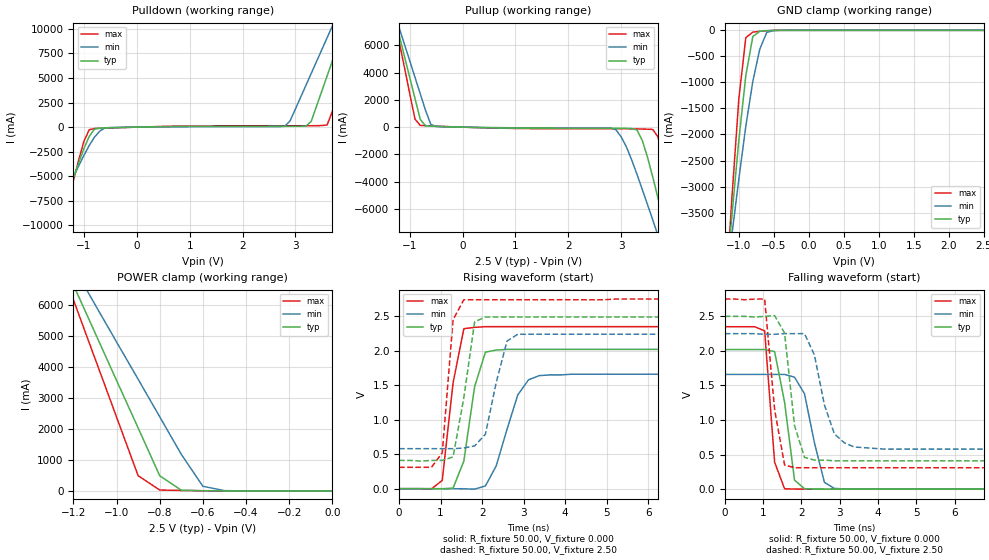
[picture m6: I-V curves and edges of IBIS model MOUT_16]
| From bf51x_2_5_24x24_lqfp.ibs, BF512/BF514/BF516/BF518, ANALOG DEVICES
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|   Model prw1216cdg_25
[Model]   MOUT_16
Model_type   I/O
Polarity   Non-Inverting
Enable   Active-Low
Vinl =   0.70V
Vinh =   1.70V
Vmeas =   1.20V
Cref =  50.00pF
Rref =   1.00M
Vref =  0.000V
C_comp   7.94pF   7.48pF   8.41pF
[Temperature Range]   25.00   0.12k   -40.00
[Voltage Range]   2.50V   2.25V   2.75V
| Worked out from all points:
|   slope of the pulldown table from 0 to 0.375 V, typ, clamps not added: 9.7 ohm
|   slope of the pullup table from 0 to 0.375 V, typ, clamps not added: 11.2 ohm
|   GND clamp passes 1 mA (typ) near -0.48 V on its own axis
|   POWER clamp passes 1 mA (typ) near -0.48 V on its own axis
|   rising waveform, R_fixture 50.00, V_fixture 0.000: 20-80 % time 330ps typ, 502ps min, 311ps max; typ from 0 V to 2.02 V
|   rising waveform, R_fixture 50.00, V_fixture 2.50: 20-80 % time 329ps typ, 380ps min, 197ps max; typ from 0.41 V to 2.5 V
|   falling waveform, R_fixture 50.00, V_fixture 0.000: 20-80 % time 324ps typ, 395ps min, 193ps max; typ from 2.02 V to 0 V
|   falling waveform, R_fixture 50.00, V_fixture 2.50: 20-80 % time 277ps typ, 441ps min, 295ps max; typ from 2.5 V to 0.41 V
[Pulldown]
| voltage   I(typ)   I(min)   I(max)
-2.5V     -26.29A    -20.09A    -34.97A
-1.7V     -13.19A    -10.78A    -16.66A
-1.5V     -9.95A     -8.47A     -12.14A
-1.4V     -8.34A     -7.32A     -9.89A
-900mV    -940mA     -1.86A     -260mA
-600mV    -75.97mA   -77.58mA   -100mA
2.8V      90.77mA    89.71mA    140mA
3.3V      580mA      5.46A      140mA
3.6V      5.19A      9.08A      220mA
3.9V      9.81A      12.71A     5.36A
4.2V      14.42A     16.34A     11.04A
5V        26.76A     26.05A     26.19A
[Pullup]
| voltage   I(typ)   I(min)   I(max)
-2.5V     26.84A     23.12A     30.96A
-1.3V     8.29A      8.52A      8.18A
-900mV    2.11A      3.66A      590mA
-800mV    570mA      2.45A      130mA
-500mV    57.05mA    51.02mA    72.58mA
2.9V      -84.95mA   -180mA     -120mA
3.3V      -200mA     -3.45A     -130mA
3.6V      -3.66A     -6.8A      -170mA
3.8V      -6.8A      -9.1A      -2.36A
4V        -10.02A    -11.41A    -6.62A
4.1V      -11.64A    -12.57A    -8.84A
5V        -26.38A    -23.07A    -29.36A
[GND_clamp]
| voltage   I(typ)   I(min)   I(max)
-2.5V     -26.29A    -20.09A    -34.96A
-1.2V     -5.13A     -5.05A     -5.39A
-1.1V     -3.58A     -3.94A     -3.24A
-1V       -2.11A     -2.86A     -1.32A
-900mV    -870mA     -1.84A     -140mA
-800mV    -120mA     -980mA     -34.45mA
-700mV    -16.53mA   -360mA     -19.93mA
-600mV    -6mA       -37.56mA   -8.59mA
-500mV    -1.29mA    -3.79mA    -1.78mA
2.5V      200pA      8.96uA     -150pA
[POWER_clamp]
| voltage   I(typ)   I(min)   I(max)
-2.5V     26.66A     22.96A     30.77A
-1.3V     8.18A      8.43A      8.05A
-1.2V     6.64A      7.22A      6.16A
-1.1V     5.1A       6.01A      4.27A
-900mV    2.03A      3.6A       490mA
-800mV    490mA      2.39A      29.14mA
-700mV    22.65mA    1.18A      14.91mA
-600mV    5.16mA     150mA      6.61mA
-500mV    1.28mA     9.49mA     1.67mA
0V        200pA      6.4nA      -200pA
[Ramp]
| variable   typ   min   max
dV/dt_r   1.22/0.29n   1.00/0.50n   1.41/0.21n
dV/dt_f   1.26/0.24n   1.01/0.40n   1.47/0.17n
R_load = 50.00
[Rising Waveform]
R_fixture = 50.00
V_fixture = 0.000
V_fixture_min = 0.000
V_fixture_max = 0.000
L_fixture = 0.000H
C_fixture = 0.000F
| time   V(typ)   V(min)   V(max)
0s        0V         0V         0V
1.04ns    -2.32mV    -110uV     120mV
1.3ns     8.11mV     -800uV     1.53V
1.56ns    400mV      -1.99mV    2.32V
1.82ns    1.48V      -7.18mV    2.34V
2.08ns    1.98V      39.55mV    2.35V
2.34ns    2.01V      330mV      2.35V
2.86ns    2.02V      1.36V      2.35V
3.38ns    2.02V      1.64V      2.35V
13ns      2.02V      1.66V      2.35V
[Rising Waveform]
R_fixture = 50.00
V_fixture = 2.50
V_fixture_min = 2.25
V_fixture_max = 2.75
L_fixture = 0.000H
C_fixture = 0.000F
| time   V(typ)   V(min)   V(max)
0s        410mV      580mV      310mV
780ps     410mV      580mV      310mV
1.04ns    410mV      580mV      520mV
1.3ns     460mV      580mV      2.45V
1.56ns    1.32V      590mV      2.74V
1.82ns    2.42V      620mV      2.74V
2.08ns    2.49V      790mV      2.74V
2.6ns     2.49V      2.14V      2.74V
2.86ns    2.49V      2.24V      2.74V
13ns      2.5V       2.25V      2.75V
[Falling Waveform]
R_fixture = 50.00
V_fixture = 0.000
V_fixture_min = 0.000
V_fixture_max = 0.000
L_fixture = 0.000H
C_fixture = 0.000F
| time   V(typ)   V(min)   V(max)
0s        2.02V      1.66V      2.35V
1.04ns    2.02V      1.66V      2.29V
1.3ns     1.99V      1.66V      390mV
1.56ns    1.26V      1.66V      5.67mV
1.82ns    130mV      1.62V      1.77mV
2.08ns    6.51mV     1.38V      580uV
2.34ns    1.72mV     670mV      250uV
2.6ns     1mV        98.39mV    29.69uV
2.86ns    390uV      10.82mV    19.1uV
13ns      20.16uV    -10.19uV   1.73uV
[Falling Waveform]
R_fixture = 50.00
V_fixture = 2.50
V_fixture_min = 2.25
V_fixture_max = 2.75
L_fixture = 0.000H
C_fixture = 0.000F
| time   V(typ)   V(min)   V(max)
0s        2.5V       2.25V      2.75V
1.04ns    2.5V       2.24V      2.75V
1.3ns     2.51V      2.24V      1.15V
1.56ns    2.26V      2.25V      350mV
1.82ns    920mV      2.25V      310mV
2.08ns    460mV      2.25V      310mV
2.34ns    420mV      1.94V      310mV
2.86ns    410mV      800mV      310mV
3.38ns    410mV      610mV      310mV
13ns      410mV      580mV      310mV
